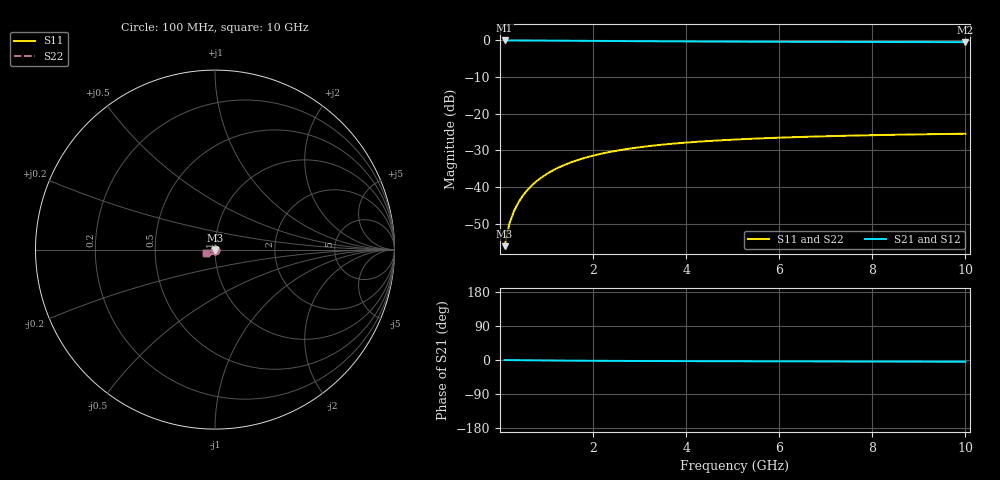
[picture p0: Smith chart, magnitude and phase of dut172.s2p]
! Touchstone file exported from HFSS 2024.1.0
!  File:  C:/UserFiles/LocalFiles/RDL_TSV_Batchsim/temp_TSV1_172_1778756068.aedt
!  Generated:  06:58:00 PM May 14, 2026
!  Design:  TSV1
!  Project:  temp_TSV1_172_1778756068
!  Setup:  Setup1
!  Solution:  Sweep
! Variables:
!  dtsv = 14.51um
!  hbump = 3um
!  htsv = 68um
!  lrdl = 252.1521522um
!  p = 40
!  p1 = 50.08um
!  t = 500um
!  trdl = 3um
!  wrdl = 24.89489489um
# GHz S MA R 50.000000
! Terminal data exported
! Port[1] = TSV22_T1
! Port[2] = TSV22_T2
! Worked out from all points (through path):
!   100 points, 100 MHz to 10 GHz, reference 50 ohm
!   highest |S21| = 0.00 dB at 100 MHz (marker M1); lowest = -0.5 dB at 10 GHz (marker M2)
!   lowest |S11| = -56.1 dB at 100 MHz (marker M3), VSWR 1.00, Z = 50 - j0.157 ohm
!   |S11| at or under -10 dB: start of sweep to end of sweep
!   |S22| runs from -56.1 to -25.4 dB; largest |S21 - S12| = 4e-15
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0.1  0.001566 -89.0  0.9999 -0.1  0.9999 -0.1  0.001566 -89.0
! Gamma 0 0 0 0
! Port Impedance 50 0 50 0
0.2  0.00313 -92.2  0.9997 -0.3  0.9997 -0.3  0.00313 -92.2
0.3  0.00469 -94.5  0.9995 -0.4  0.9995 -0.4  0.00469 -94.5
0.4  0.006239 -96.4  0.9991 -0.5  0.9991 -0.5  0.006239 -96.4
0.5  0.007772 -98.2  0.9987 -0.6  0.9987 -0.6  0.007772 -98.2
0.6  0.009283 -100.0  0.9982 -0.8  0.9982 -0.8  0.009283 -100.0
0.7  0.01077 -101.7  0.9976 -0.9  0.9976 -0.9  0.01077 -101.7
0.8  0.01223 -103.4  0.9969 -1.0  0.9969 -1.0  0.01223 -103.4
0.9  0.01365 -105.0  0.9962 -1.1  0.9962 -1.1  0.01365 -105.0
1.1  0.0164 -108.2  0.9946 -1.3  0.9946 -1.3  0.0164 -108.2
1.4  0.02024 -112.6  0.9919 -1.6  0.9919 -1.6  0.02024 -112.6
1.6  0.0226 -115.5  0.99 -1.8  0.99 -1.8  0.0226 -115.5
1.8  0.02481 -118.1  0.9881 -1.9  0.9881 -1.9  0.02481 -118.1
2.1  0.02781 -121.8  0.9852 -2.1  0.9852 -2.1  0.02781 -121.8
2.5  0.03131 -126.3  0.9815 -2.4  0.9815 -2.4  0.03131 -126.3
2.9  0.0343 -130.2  0.9779 -2.6  0.9779 -2.6  0.0343 -130.2
3.4  0.03743 -134.5  0.9739 -2.8  0.9739 -2.8  0.03743 -134.5
4.2  0.04138 -140.2  0.9684 -3.1  0.9684 -3.1  0.04138 -140.2
5.1  0.0447 -145.2  0.9634 -3.3  0.9634 -3.3  0.0447 -145.2
6.7  0.04881 -152.1  0.9569 -3.7  0.9569 -3.7  0.04881 -152.1
8.4  0.05166 -157.5  0.9522 -4.2  0.9522 -4.2  0.05166 -157.5
10  0.05348 -161.5  0.9491 -4.6  0.9491 -4.6  0.05348 -161.5
